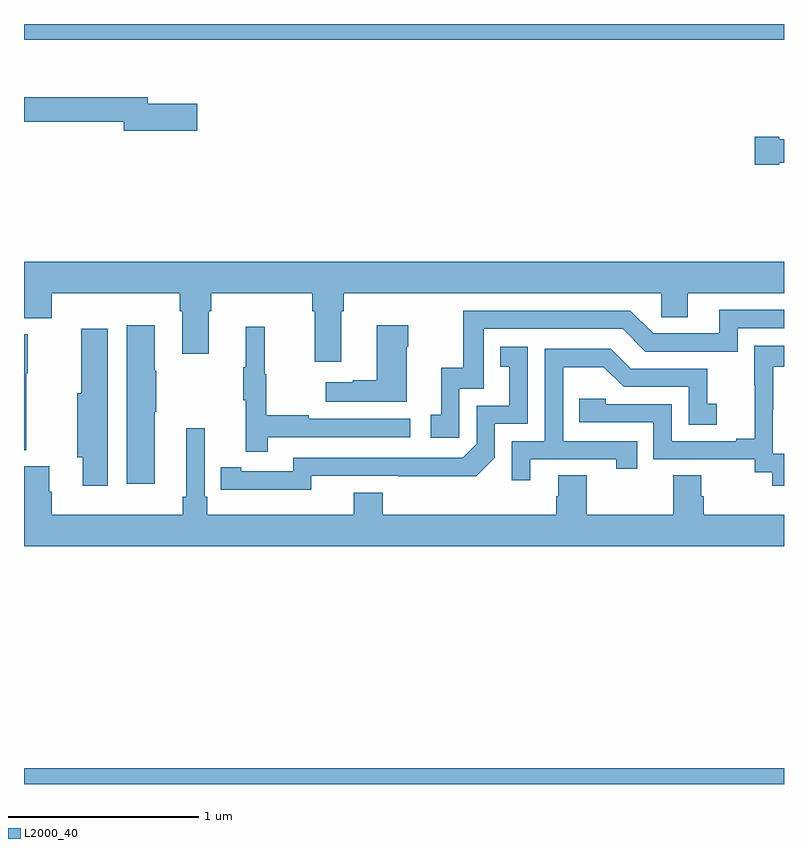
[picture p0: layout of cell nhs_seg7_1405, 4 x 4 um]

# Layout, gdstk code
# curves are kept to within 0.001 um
import gdstk
lib = gdstk.Library(unit=1e-6, precision=1e-09)
def R(c, l, rs):  # rectangles x0, y0, x1, y1
    for r in rs: c.add(gdstk.rectangle(r[:2], r[2:], *l))
def P(c, l, *ps):  # polygons
    for p in ps: c.add(gdstk.Polygon(p, *l))
L2000_40 = (2000, 40)

nhs_seg7_1405 = lib.new_cell('nhs_seg7_1405')
R(nhs_seg7_1405, L2000_40, [(207,1030,211,1030.084), (207,1033.916,211,1034)])
P(nhs_seg7_1405, L2000_40, [(207.913,1033.581),(207.652,1033.581),(207.652,1033.615),(207,1033.615),(207,1033.486),(207.524,1033.486),(207.524,1033.439),(207.913,1033.439)],
  [(210.975,1033.271),(211,1033.271),(211,1033.393),(210.975,1033.393),(210.975,1033.406),(210.846,1033.406),(210.846,1033.259),(210.975,1033.259)],
  [(207,1032.451),(207.146,1032.451),(207.146,1032.584),(207.821,1032.584),(207.821,1032.488),(207.833,1032.488),(207.833,1032.264),(207.973,1032.264),(207.973,1032.488),(207.986,1032.488),(207.986,1032.584),(208.517,1032.584),(208.517,1032.488),(208.529,1032.488),(208.529,1032.222),(208.669,1032.222),(208.669,1032.488),(208.682,1032.488),(208.682,1032.584),(210.354,1032.584),(210.354,1032.457),(210.493,1032.457),(210.493,1032.584),(211,1032.584),(211,1032.748),(207,1032.748)],
  [(209.292,1032.081),(209.421,1032.081),(209.421,1032.396),(210.15,1032.396),(210.27,1032.276),(210.756,1032.276),(210.756,1032.399),(211,1032.399),(211,1032.495),(210.659,1032.495),(210.659,1032.372),(210.312,1032.372),(210.192,1032.492),(209.313,1032.492),(209.313,1032.19),(209.195,1032.19),(209.195,1031.943),(209.142,1031.943),(209.142,1031.823),(209.292,1031.823)],
  [(207.688,1031.959),(207.696,1031.959),(207.696,1032.176),(207.688,1032.176),(207.688,1032.415),(207.542,1032.415),(207.542,1031.58),(207.688,1031.58)],
  [(209.014,1032.302),(209.022,1032.302),(209.022,1032.415),(208.856,1032.415),(208.856,1032.125),(208.73,1032.125),(208.73,1032.115),(208.587,1032.115),(208.587,1032.011),(209.014,1032.011)],
  [(208.283,1031.826),(209.032,1031.826),(209.032,1031.922),(208.499,1031.922),(208.499,1031.942),(208.276,1031.942),(208.276,1032.156),(208.268,1032.156),(208.268,1032.406),(208.166,1032.406),(208.166,1032.193),(208.155,1032.193),(208.155,1032.019),(208.166,1032.019),(208.166,1031.748),(208.283,1031.748)],
  [(207.442,1032.397),(207.301,1032.397),(207.301,1032.057),(207.281,1032.057),(207.281,1031.721),(207.308,1031.721),(207.308,1031.571),(207.442,1031.571)],
  [(207.011,1032.163),(207.019,1032.163),(207.019,1032.366),(207,1032.366),(207,1031.757),(207.011,1031.757)],
  [(211,1031.739),(210.942,1031.739),(210.942,1031.969),(210.944,1031.969),(210.944,1032.197),(211,1032.197),(211,1032.307),(210.844,1032.307),(210.844,1032.101),(210.845,1032.101),(210.845,1031.818),(210.749,1031.818),(210.749,1031.805),(210.408,1031.805),(210.408,1032),(210.063,1032),(210.063,1032.027),(209.923,1032.027),(209.923,1031.904),(210.312,1031.904),(210.312,1031.709),(210.846,1031.709),(210.846,1031.641),(210.939,1031.641),(210.939,1031.571),(211,1031.571)],
  [(208.512,1031.622),(209.38,1031.621),(209.478,1031.718),(209.478,1031.895),(209.652,1031.895),(209.652,1032.301),(209.506,1032.301),(209.506,1032.195),(209.555,1032.195),(209.555,1031.991),(209.382,1031.991),(209.382,1031.79),(209.31,1031.718),(208.416,1031.718),(208.416,1031.646),(208.144,1031.646),(208.144,1031.666),(208.036,1031.666),(208.036,1031.55),(208.512,1031.549)],
  [(209.665,1031.709),(210.116,1031.709),(210.116,1031.658),(210.227,1031.658),(210.227,1031.805),(209.838,1031.805),(209.838,1032.194),(210.052,1032.194),(210.156,1032.09),(210.498,1032.09),(210.498,1031.892),(210.646,1031.892),(210.646,1032.001),(210.597,1032.001),(210.597,1032.186),(210.193,1032.186),(210.088,1032.291),(209.742,1032.291),(209.742,1031.805),(209.568,1031.805),(209.568,1031.598),(209.665,1031.598)],
  [(211,1031.416),(210.578,1031.416),(210.578,1031.514),(210.565,1031.514),(210.565,1031.624),(210.418,1031.624),(210.418,1031.416),(209.961,1031.416),(209.961,1031.624),(209.813,1031.624),(209.813,1031.514),(209.801,1031.514),(209.801,1031.416),(208.889,1031.416),(208.889,1031.533),(208.736,1031.533),(208.736,1031.416),(207.965,1031.416),(207.965,1031.512),(207.951,1031.512),(207.951,1031.872),(207.854,1031.872),(207.854,1031.512),(207.835,1031.512),(207.835,1031.416),(207.146,1031.416),(207.146,1031.538),(207.133,1031.538),(207.133,1031.672),(207,1031.672),(207,1031.252),(211,1031.252)])

lib.write_gds('nhs_seg7_1405.gds')
